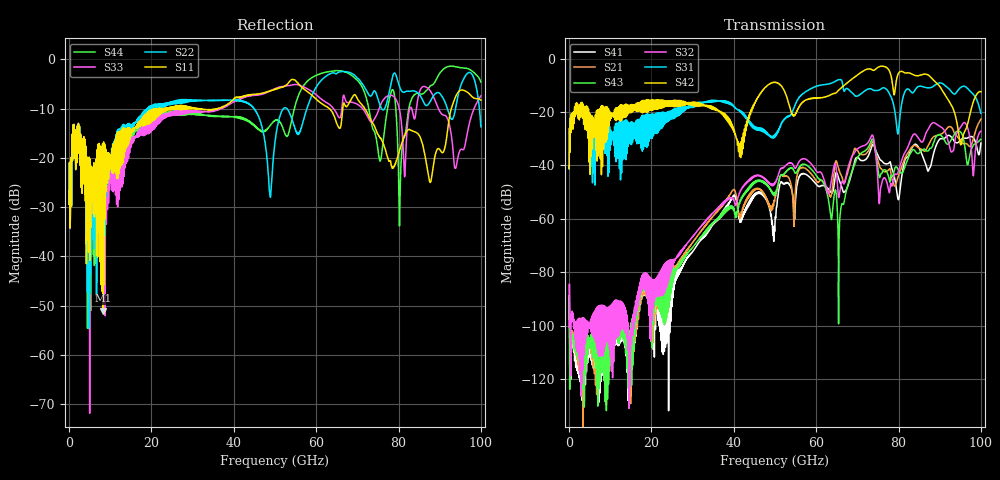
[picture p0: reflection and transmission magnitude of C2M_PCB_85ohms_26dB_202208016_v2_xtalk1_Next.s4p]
! Info: Touchstone file created by Circ.  Input file=Intel_C2M_200G_11p0in_202208016_staggered.circ
# Hz S RI R 50
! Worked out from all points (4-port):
!   10000 points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, 10 MHz to 100 GHz, reference 50 ohm
!   strongest paths, dB at 10 MHz, 25.01 GHz, 50.01 GHz, 75.01 GHz, 100 GHz:
!     S42: -41.3, -17.2, -8.9, -3.3, -12.5
!     S31: -41.3, -21.7, -29.4, -11.9, -20.5
!     S32: -100.4, -77.9, -46.6, -46.3, -27.2
!     S43: -89.9, -82.1, -50.9, -41.7, -30.2
!     S21: -89.5, -80.0, -51.9, -38.2, -22.7
!     S41: -88.8, -81.3, -61.0, -36.3, -31.7
!   lowest |S11| = -51.0 dB at 8.26 GHz (marker M1), VSWR 1.01, Z = 49.8 + j0.205 ohm
!   |S11| at or under -10 dB: start of sweep to 20.73 GHz; 31.78 GHz to 35.94 GHz (4.159 GHz wide, 12.3 % of centre); 71.8 GHz to 92.82 GHz (21.02 GHz wide, 25.5 % of centre)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
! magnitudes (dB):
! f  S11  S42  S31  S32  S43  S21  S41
! 10 MHz  -29.4  -41.3  -41.3  -100.4  -89.9  -89.5  -88.8
! 8.26 GHz  -51.0  -18.1  -21.1  -108.5  -110.0  -114.1  -112.0
! 41.5 GHz  -7.6  -32.6  -19.9  -49.8  -53.5  -59.4  -61.3
! 48.78 GHz  -6.4  -9.5  -28.9  -46.7  -48.7  -55.0  -56.5
! 76.1 GHz  -16.6  -2.9  -11.0  -45.7  -42.4  -41.9  -38.7
! 95.19 GHz  -6.2  -32.2  -10.7  -25.4  -27.7  -31.2  -30.3
! 100 GHz  -8.3  -12.5  -20.5  -27.2  -30.2  -22.7  -31.7
